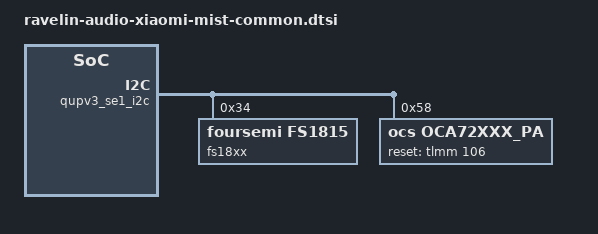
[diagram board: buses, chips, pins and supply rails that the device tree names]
// SPDX-License-Identifier: BSD-3-Clause
/*
 * Xiaomi Mist audio, based on ravelin-audio-qrd.dtsi.
 */

#include "ravelin-audio-qrd.dtsi"

&lpass_cdc {
	qcom,num-macros = <3>;
};

&wsa_macro {
	status = "disabled";
};

&wsa2_macro {
	status = "disabled";
};

&wcd937x_codec {
	qcom,cdc-micbias1-mv = <2700>;
	qcom,cdc-micbias2-mv = <2700>;
	qcom,cdc-micbias3-mv = <2700>;
};

&waipio_snd {
	qcom,wsa-max-devs = <0>;
	qcom,audio-routing =
		"AMIC1", "Analog Mic1",
		"AMIC1", "MIC BIAS1",
		"AMIC2", "Analog Mic2",
		"AMIC2", "MIC BIAS2",
		"AMIC3", "Analog Mic3",
		"AMIC3", "MIC BIAS3",
		"TX DMIC0", "Digital Mic0",
		"TX DMIC0", "MIC BIAS3",
		"TX DMIC1", "Digital Mic1",
		"TX DMIC1", "MIC BIAS3",
		"TX DMIC2", "Digital Mic2",
		"TX DMIC2", "MIC BIAS1",
		"TX DMIC3", "Digital Mic3",
		"TX DMIC3", "MIC BIAS1",
		"IN1_HPHL", "HPHL_OUT",
		"IN2_HPHR", "HPHR_OUT",
		"IN3_AUX", "AUX_OUT",
		"RX_TX DEC0_INP", "TX DEC0 MUX",
		"RX_TX DEC1_INP", "TX DEC1 MUX",
		"RX_TX DEC2_INP", "TX DEC2 MUX",
		"RX_TX DEC3_INP", "TX DEC3 MUX",
		"TX SWR_INPUT", "WCD_TX_OUTPUT",
		"VA SWR_INPUT", "VA_SWR_CLK",
		"VA SWR_INPUT", "WCD_TX_OUTPUT",
		"VA_AIF1 CAP", "VA_SWR_CLK",
		"VA_AIF2 CAP", "VA_SWR_CLK",
		"VA_AIF3 CAP", "VA_SWR_CLK";
};

&soc {
	frsm_amp {
		compatible = "foursemi,frsm-amp";
		frsm,amp-ndev = <1>;
		frsm,class-enable;
		status = "okay";
	};
};

/* Speaker amp is either an FS1815 or an OCA72xxx */
&qupv3_se1_i2c {
	status = "okay";
	#address-cells = <1>;
	#size-cells = <0>;

	fs18xx@34 {
		compatible = "foursemi,fs1815";
		reg = <0x34>;
		fwm-name = "frsm-spk.bin";
		spkr-id = <1>;
		status = "okay";
	};

	oca72xxx_pa@58 {
		compatible = "ocs,oca72xxx_pa";
		reg = <0x58>;
		dev_index = <0>;
		reset-gpio = <&tlmm 106 0>;
		status = "okay";
	};
};
